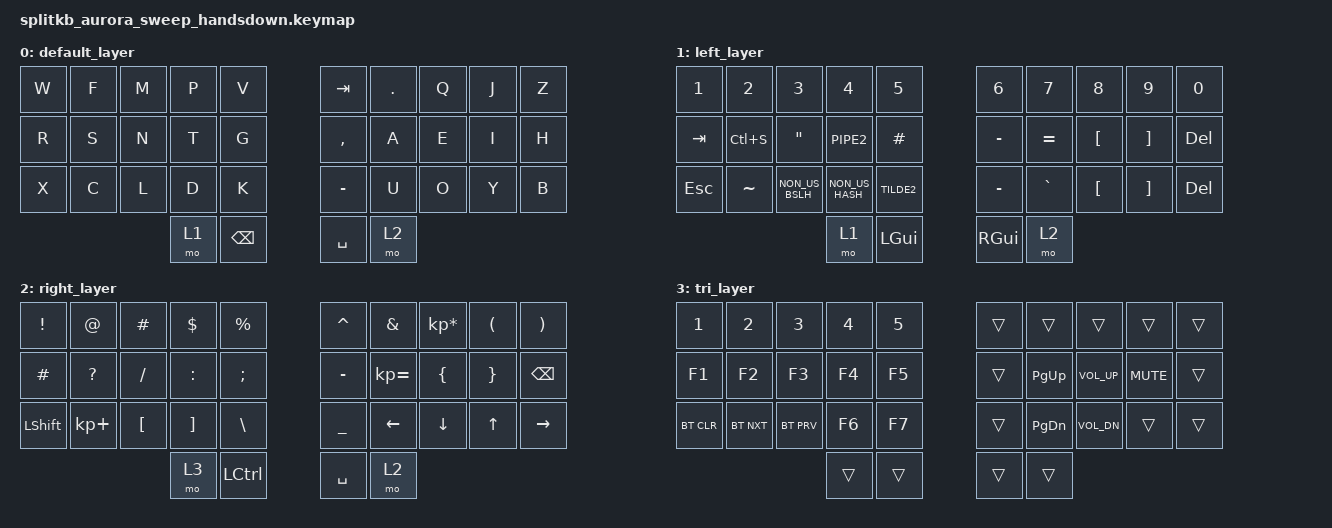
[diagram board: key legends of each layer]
/*
 * Copyright (c) 2022 The ZMK Contributors
 *
 * SPDX-License-Identifier: MIT
 */

#include <behaviors.dtsi>
#include <dt-bindings/zmk/keys.h>
#include <dt-bindings/zmk/bt.h>


&mt {
  //  flavor = "tap-preferred";
   // tapping-term-ms = <200>;
};

/ {

    combos {
        compatible = "zmk,combos";
        combo_esc {
            timeout-ms = <50>;
            key-positions = <0 1>;
            bindings = <&kp ESC>;
        };

         combo_tab {
            timeout-ms = <50>;
            key-positions = <10 11>;
            bindings = <&kp TAB>;
        };

            combo_ralt {
            timeout-ms = <50>;
            key-positions = <17 16>;
            bindings = <&kp RALT>;
        };

                    combo_lalt {
            timeout-ms = <50>;
            key-positions = <11 12>;
            bindings = <&kp LALT>;
        };

                           combo_lgui {
            timeout-ms = <50>;
            key-positions = <12 13>;
            bindings = <&kp LGUI>;
        };


       combo_rgui {
            timeout-ms = <50>;
            key-positions = <17 18>;
            bindings = <&kp RGUI>;
        };



    };

        keymap {
                compatible = "zmk,keymap";

            default_layer {
        bindings = <
        &kp W       &kp F       &kp M       &kp P       &kp V                       &kp TAB     &kp DOT     &kp Q       &kp J       &kp Z
        &kp R       &kp S       &kp N       &kp T       &kp G                       &kp COMMA   &kp A       &kp E       &kp I       &kp H
        &kp X       &kp C       &kp L       &kp D       &kp K                       &kp MINUS   &kp U       &kp O       &kp Y       &kp B
                                            &mo 1       &kp BSPC                    &kp SPACE   &mo 2
        >;
        };

            left_layer {
        bindings = <
        &kp N1  &kp N2    &kp N3    &kp N4    &kp N5     &kp N6 &kp N7 &kp N8 &kp N9 &kp N0
        &kp TAB    &kp LC(S)    &kp DQT      &kp PIPE2     &kp HASH         &kp MINUS &kp EQUAL  &kp LBKT &kp RBKT  &kp DEL
        &kp ESC    &kp TILDE    &kp NON_US_BSLH &kp NON_US_HASH  &kp TILDE2     &kp MINUS &kp GRAVE &kp LBKT &kp RBKT  &kp DEL
                        &mo 1  &kp LGUI                     &kp RGUI &mo 2
        >;
        };

        right_layer {
        bindings = <
        &kp EXCL  &kp AT &kp HASH  &kp DLLR  &kp PRCNT             &kp CARET  &kp AMPS &kp KP_MULTIPLY &kp LPAR &kp RPAR
        &kp HASH  &kp QMARK  &kp FSLH  &kp COLON  &kp SEMI           &kp MINUS &kp KP_EQUAL  &kp LBRC  &kp RBRC   &kp BSPC
        &kp LSHFT  &kp KP_PLUS &kp LBKT &kp RBKT   &kp BSLH             &kp UNDER &kp LEFT &kp DOWN &kp UP  &kp RIGHT
                      &mo 3 &kp LCTRL                &kp SPACE  &mo 2
        >;
        };

        tri_layer {
        bindings = <
        &kp N1  &kp N2    &kp N3    &kp N4    &kp N5             &trans &trans   &trans   &trans  &trans
        &kp F1 &kp F2 &kp F3 &kp F4 &kp F5                          &trans &kp PG_UP  &kp K_VOL_UP &kp K_MUTE &trans
        &bt BT_CLR  &bt BT_NXT &bt BT_PRV &kp F6 &kp F7                 &trans &kp PG_DN  &kp K_VOL_DN  &trans &trans
                     &trans &trans                      &trans &trans
        >;
        };

    };
};
